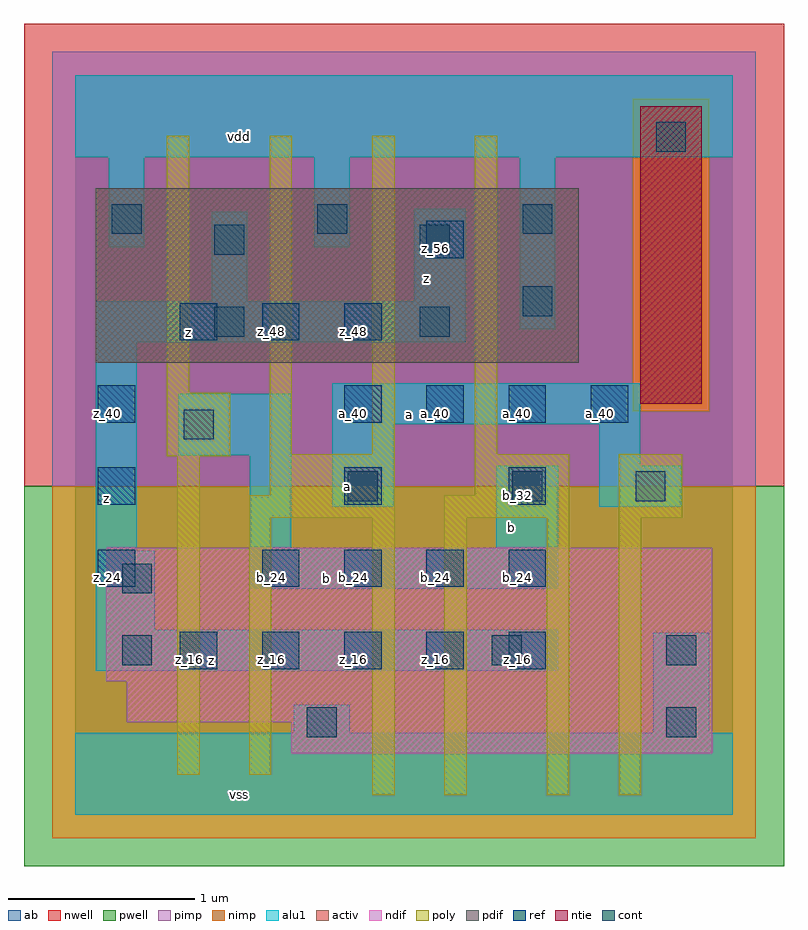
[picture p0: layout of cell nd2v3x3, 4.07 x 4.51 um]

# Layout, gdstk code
import gdstk
lib = gdstk.Library(unit=1e-6, precision=2.5e-09)
def R(c, l, rs):  # rectangles x0, y0, x1, y1
    for r in rs: c.add(gdstk.rectangle(r[:2], r[2:], *l))
def A(c, l, x, y, w, h, nx, ny, dx, dy):  # array of equal rectangles
    R(c, l, [(x+i*dx, y+j*dy, x+i*dx+w, y+j*dy+h) for i in range(nx) for j in range(ny)])
ndif = (3, 0)
pdif = (4, 0)
ntie = (5, 0)
ref = (24, 0)
cont = (25, 0)
pwell = (41, 0)
nwell = (42, 0)
activ = (43, 0)
pimp = (44, 0)
nimp = (45, 0)
poly = (46, 0)
alu1 = (49, 0)
ab = (63, 0)

nd2v3x3 = lib.new_cell('nd2v3x3')
R(nd2v3x3, ndif, [(1.155,0.33,3.41,0.495), (0.275,0.495,3.41,0.715), (0.165,0.715,3.41,1.43)])
R(nd2v3x3, pdif, [(0.11,2.42,2.695,3.355)])
R(nd2v3x3, ntie, [(3.025,2.2,3.355,3.795)])
A(nd2v3x3, ref, 0.56, 0.78, 0.2, 0.2, 5, 1, 0.44, 0)
A(nd2v3x3, ref, 0.12, 1.22, 0.2, 0.2, 1, 3, 0, 0.44)
A(nd2v3x3, ref, 1, 1.22, 0.2, 0.2, 4, 1, 0.44, 0)
A(nd2v3x3, ref, 1.44, 2.1, 0.2, 0.2, 4, 1, 0.44, 0)
A(nd2v3x3, ref, 0.56, 2.54, 0.2, 0.2, 3, 1, 0.44, 0)
R(nd2v3x3, ref, [(1.44,1.66,1.64,1.86), (2.32,1.66,2.52,1.86), (1.88,2.98,2.08,3.18)])
A(nd2v3x3, cont, 0.195, 3.11, 0.16, 0.16, 3, 1, 1.1, 0)
R(nd2v3x3, cont, [(1.24,0.415,1.4,0.575), (3.165,0.415,3.325,0.575), (0.25,0.8,0.41,0.96), (2.23,0.8,2.39,0.96), (3.165,0.8,3.325,0.96), (0.25,1.185,0.41,1.345), (1.46,1.68,1.62,1.84), (2.34,1.68,2.5,1.84), (3,1.68,3.16,1.84), (0.58,2.01,0.74,2.17), (0.745,2.56,0.905,2.72), (1.845,2.56,2.005,2.72), (2.395,2.67,2.555,2.83), (0.745,3,0.905,3.16), (1.845,3,2.005,3.16), (3.11,3.55,3.27,3.71)])
R(nd2v3x3, pwell, [(-0.275,-0.275,3.795,1.76)])
R(nd2v3x3, nwell, [(-0.275,1.76,3.795,4.235)])
R(nd2v3x3, activ, [(1.155,0.33,3.41,0.495), (0.275,0.495,3.41,0.715), (0.165,0.715,3.41,1.43), (3.025,2.2,3.355,3.795), (0.11,2.42,2.695,3.355)])
R(nd2v3x3, pimp, [(-0.125,1.76,3.645,2.16), (-0.125,2.16,2.985,3.835), (3.395,2.16,3.645,3.835), (-0.125,3.835,3.645,4.085)])
R(nd2v3x3, nimp, [(-0.125,-0.125,3.645,1.76), (2.985,2.16,3.395,3.835)])
A(nd2v3x3, poly, 1.04, 1.93, 0.12, 1.705, 3, 1, 0.55, 0)
R(nd2v3x3, poly, [(1.59,0.105,1.71,1.59), (1.975,0.105,2.095,1.59), (2.525,0.105,2.645,1.59), (2.91,0.105,3.03,1.59), (0.545,0.215,0.665,1.92), (0.93,0.215,1.05,1.59), (0.93,1.59,1.71,1.71), (1.975,1.59,2.645,1.71), (2.91,1.59,3.25,1.93), (1.04,1.71,1.71,1.93), (2.14,1.71,2.645,1.93), (0.49,1.92,0.83,2.26), (0.49,2.26,0.61,3.635)])
R(nd2v3x3, alu1, [(0,0,3.52,0.44), (1.17,0.44,1.47,0.59), (3.095,0.44,3.395,0.975), (0.11,0.77,2.585,0.99), (0.11,0.99,0.425,1.415), (0.935,1.21,2.585,1.43), (0.11,1.415,0.33,2.53), (0.935,1.43,1.155,1.925), (2.255,1.43,2.585,1.87), (1.375,1.65,1.705,2.09), (2.805,1.65,3.245,1.87), (2.805,1.87,3.025,2.09), (0.55,1.925,1.155,2.255), (1.375,2.09,3.025,2.31), (0.11,2.53,2.09,2.75), (2.38,2.6,2.57,3.52), (0.73,2.75,0.92,3.23), (1.815,2.75,2.09,3.245), (0.18,3.04,0.37,3.52), (1.28,3.04,1.47,3.52), (0,3.52,3.52,3.96)])
R(nd2v3x3, ab, [(0,0,3.52,3.96)])
nd2v3x3.add(gdstk.Label('vss', (0.88,0.11), layer=49, texttype=0))
nd2v3x3.add(gdstk.Label('z', (0.7275,0.825), layer=49, texttype=0))
nd2v3x3.add(gdstk.Label('b', (1.3475,1.265), layer=49, texttype=0))
nd2v3x3.add(gdstk.Label('b', (2.3375,1.54), layer=49, texttype=0))
nd2v3x3.add(gdstk.Label('a', (1.4575,1.76), layer=49, texttype=0))
nd2v3x3.add(gdstk.Label('a', (1.7875,2.145), layer=49, texttype=0))
nd2v3x3.add(gdstk.Label('z', (0.165,1.6925), layer=49, texttype=0))
nd2v3x3.add(gdstk.Label('z', (0.605,2.585), layer=49, texttype=0))
nd2v3x3.add(gdstk.Label('z', (1.8825,2.8725), layer=49, texttype=0))
nd2v3x3.add(gdstk.Label('vdd', (0.88,3.63), layer=49, texttype=0))
nd2v3x3.add(gdstk.Label('z_16', (0.61,0.83), layer=24, texttype=0))
nd2v3x3.add(gdstk.Label('z_48', (0.61,2.59), layer=24, texttype=0))
nd2v3x3.add(gdstk.Label('z_16', (1.05,0.83), layer=24, texttype=0))
nd2v3x3.add(gdstk.Label('b_24', (1.05,1.27), layer=24, texttype=0))
nd2v3x3.add(gdstk.Label('z_48', (1.05,2.59), layer=24, texttype=0))
nd2v3x3.add(gdstk.Label('z_16', (1.49,0.83), layer=24, texttype=0))
nd2v3x3.add(gdstk.Label('b_24', (1.49,1.27), layer=24, texttype=0))
nd2v3x3.add(gdstk.Label('a_32', (1.49,1.71), layer=24, texttype=0))
nd2v3x3.add(gdstk.Label('a_40', (1.49,2.15), layer=24, texttype=0))
nd2v3x3.add(gdstk.Label('z_48', (1.49,2.59), layer=24, texttype=0))
nd2v3x3.add(gdstk.Label('z_16', (1.93,0.83), layer=24, texttype=0))
nd2v3x3.add(gdstk.Label('b_24', (1.93,1.27), layer=24, texttype=0))
nd2v3x3.add(gdstk.Label('a_40', (1.93,2.15), layer=24, texttype=0))
nd2v3x3.add(gdstk.Label('z_56', (1.93,3.03), layer=24, texttype=0))
nd2v3x3.add(gdstk.Label('z_24', (0.17,1.27), layer=24, texttype=0))
nd2v3x3.add(gdstk.Label('z_32', (0.17,1.71), layer=24, texttype=0))
nd2v3x3.add(gdstk.Label('z_40', (0.17,2.15), layer=24, texttype=0))
nd2v3x3.add(gdstk.Label('z_16', (2.37,0.83), layer=24, texttype=0))
nd2v3x3.add(gdstk.Label('b_24', (2.37,1.27), layer=24, texttype=0))
nd2v3x3.add(gdstk.Label('b_32', (2.37,1.71), layer=24, texttype=0))
nd2v3x3.add(gdstk.Label('a_40', (2.37,2.15), layer=24, texttype=0))
nd2v3x3.add(gdstk.Label('a_40', (2.81,2.15), layer=24, texttype=0))

lib.write_gds('nd2v3x3.gds')
